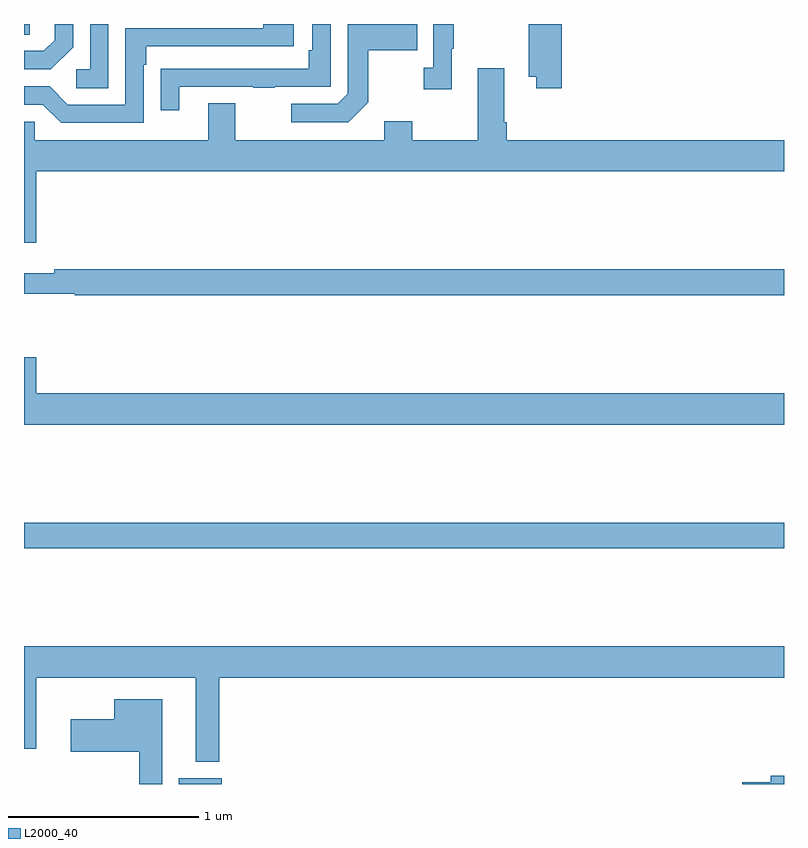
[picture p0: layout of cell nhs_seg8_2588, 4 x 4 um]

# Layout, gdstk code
import gdstk
lib = gdstk.Library(unit=1e-6, precision=1e-09)
def R(c, l, rs):  # rectangles x0, y0, x1, y1
    for r in rs: c.add(gdstk.rectangle(r[:2], r[2:], *l))
def P(c, l, *ps):  # polygons
    for p in ps: c.add(gdstk.Polygon(p, *l))
L2000_40 = (2000, 40)

nhs_seg8_2588 = lib.new_cell('nhs_seg8_2588')
R(nhs_seg8_2588, L2000_40, [(273.815,1155.9,274.042,1155.931), (273,1157.14,277,1157.276), (273,1159.843,273.03,1159.9)])
P(nhs_seg8_2588, L2000_40, [(275.251,1159.769),(275.263,1159.769),(275.263,1159.9),(275.154,1159.9),(275.154,1159.67),(275.103,1159.67),(275.103,1159.557),(275.251,1159.557)],
  [(274.813,1159.489),(274.813,1159.762),(275.069,1159.762),(275.069,1159.9),(274.704,1159.9),(274.704,1159.533),(274.65,1159.479),(274.407,1159.479),(274.407,1159.383),(274.707,1159.383)],
  [(273.817,1159.569),(274.207,1159.569),(274.207,1159.564),(274.319,1159.564),(274.319,1159.569),(274.614,1159.569),(274.614,1159.9),(274.518,1159.9),(274.518,1159.762),(274.498,1159.762),(274.498,1159.665),(273.823,1159.665),(273.823,1159.664),(273.721,1159.664),(273.721,1159.446),(273.817,1159.446)],
  [(273.63,1159.685),(273.643,1159.685),(273.643,1159.782),(274.42,1159.782),(274.42,1159.9),(274.259,1159.9),(274.259,1159.878),(273.534,1159.878),(273.534,1159.476),(273.231,1159.476),(273.135,1159.572),(273,1159.572),(273,1159.476),(273.099,1159.476),(273.195,1159.38),(273.63,1159.38)],
  [(273.444,1159.9),(273.348,1159.9),(273.348,1159.662),(273.276,1159.662),(273.276,1159.561),(273.444,1159.561)],
  [(273.258,1159.778),(273.258,1159.9),(273.161,1159.9),(273.161,1159.815),(273.104,1159.758),(273,1159.758),(273,1159.662),(273.142,1159.662)],
  [(275.831,1159.9),(275.656,1159.9),(275.656,1159.622),(275.696,1159.622),(275.696,1159.563),(275.831,1159.563)],
  [(273.064,1159.124),(277,1159.124),(277,1159.288),(275.54,1159.288),(275.54,1159.384),(275.527,1159.384),(275.527,1159.666),(275.387,1159.666),(275.387,1159.288),(275.043,1159.288),(275.043,1159.387),(274.895,1159.387),(274.895,1159.288),(274.111,1159.288),(274.111,1159.483),(273.971,1159.483),(273.971,1159.288),(273.057,1159.288),(273.057,1159.386),(273,1159.386),(273,1158.75),(273.064,1158.75)],
  [(277,1158.608),(273.16,1158.608),(273.16,1158.589),(273,1158.589),(273,1158.48),(273.268,1158.48),(273.268,1158.472),(277,1158.472)],
  [(277,1157.956),(273.064,1157.956),(273.064,1158.145),(273,1158.145),(273,1157.792),(277,1157.792)],
  [(274.027,1156.46),(277,1156.46),(277,1156.624),(273,1156.624),(273,1156.086),(273.064,1156.086),(273.064,1156.46),(273.905,1156.46),(273.905,1156.016),(274.027,1156.016)],
  [(273.727,1156.345),(273.476,1156.345),(273.476,1156.24),(273.246,1156.24),(273.246,1156.07),(273.606,1156.07),(273.606,1155.9),(273.727,1155.9)],
  [(277,1155.944),(276.929,1155.944),(276.929,1155.908),(276.78,1155.908),(276.78,1155.9),(277,1155.9)])

lib.write_gds('nhs_seg8_2588.gds')
